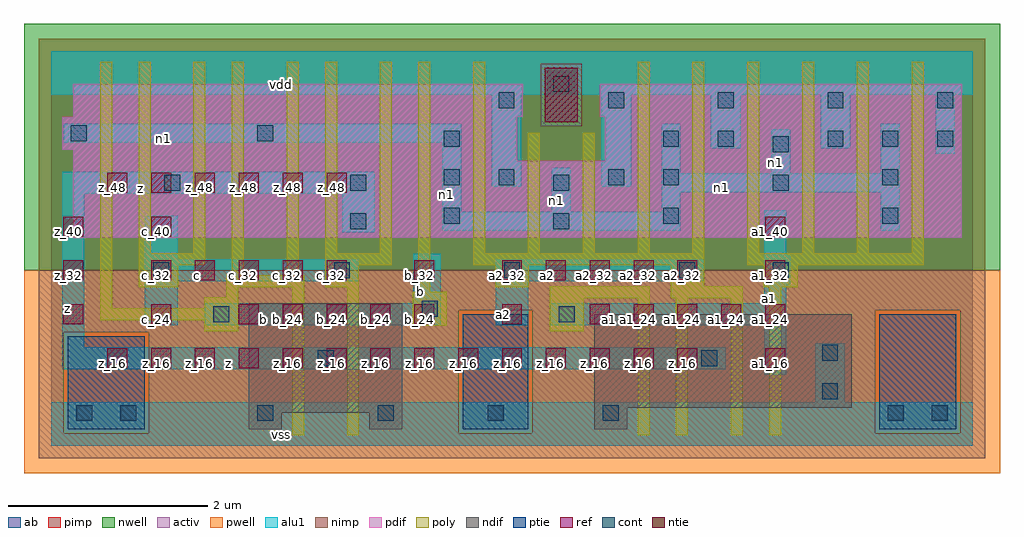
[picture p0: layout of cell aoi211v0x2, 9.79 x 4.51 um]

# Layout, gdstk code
import gdstk
lib = gdstk.Library(unit=1e-6, precision=2.5e-09)
def R(c, l, rs):  # rectangles x0, y0, x1, y1
    for r in rs: c.add(gdstk.rectangle(r[:2], r[2:], *l))
def A(c, l, x, y, w, h, nx, ny, dx, dy):  # array of equal rectangles
    R(c, l, [(x+i*dx, y+j*dy, x+i*dx+w, y+j*dy+h) for i in range(nx) for j in range(ny)])
ndif = (3, 0)
pdif = (4, 0)
ntie = (5, 0)
ptie = (6, 0)
ref = (24, 0)
cont = (25, 0)
pwell = (41, 0)
nwell = (42, 0)
activ = (43, 0)
pimp = (44, 0)
nimp = (45, 0)
poly = (46, 0)
alu1 = (49, 0)
ab = (63, 0)

aoi211v0x2 = lib.new_cell('aoi211v0x2')
R(aoi211v0x2, ndif, [(1.98,0.165,2.31,0.33), (3.19,0.165,3.52,0.33), (5.445,0.165,5.775,0.385), (1.98,0.33,3.52,1.43), (5.445,0.385,8.03,1.32)])
R(aoi211v0x2, pdif, [(0.22,2.09,9.13,2.86), (0.22,2.86,4.675,2.97), (5.555,2.86,9.13,3.3), (0.11,2.97,4.675,3.3), (0.22,3.3,4.73,3.63), (5.5,3.3,9.13,3.63)])
R(aoi211v0x2, ntie, [(4.95,3.245,5.28,3.795)])
R(aoi211v0x2, ptie, [(0.165,0.165,0.935,1.1), (4.125,0.165,4.785,1.32), (8.305,0.165,9.075,1.32)])
A(aoi211v0x2, ref, 0.56, 0.78, 0.2, 0.2, 14, 1, 0.44, 0)
A(aoi211v0x2, ref, 0.12, 1.22, 0.2, 0.2, 3, 1, 0.88, 0)
A(aoi211v0x2, ref, 2.32, 1.22, 0.2, 0.2, 4, 1, 0.44, 0)
A(aoi211v0x2, ref, 5.4, 1.22, 0.2, 0.2, 5, 1, 0.44, 0)
A(aoi211v0x2, ref, 1, 1.66, 0.2, 0.2, 5, 1, 0.44, 0)
A(aoi211v0x2, ref, 4.52, 1.66, 0.2, 0.2, 5, 1, 0.44, 0)
A(aoi211v0x2, ref, 0.56, 2.54, 0.2, 0.2, 6, 1, 0.44, 0)
R(aoi211v0x2, ref, [(7.16,0.78,7.36,0.98), (4.52,1.22,4.72,1.42), (0.12,1.66,0.32,1.86), (3.64,1.66,3.84,1.86), (7.16,1.66,7.36,1.86), (0.12,2.1,0.32,2.3), (1,2.1,1.2,2.3), (7.16,2.1,7.36,2.3)])
A(aoi211v0x2, cont, 3.935, 2.23, 0.16, 0.16, 3, 1, 2.2, 0)
A(aoi211v0x2, cont, 7.785, 3, 0.16, 0.16, 3, 1, 0.55, 0)
A(aoi211v0x2, cont, 4.485, 3.385, 0.16, 0.16, 5, 1, 1.1, 0)
R(aoi211v0x2, cont, [(0.25,0.25,0.41,0.41), (0.69,0.25,0.85,0.41), (2.065,0.25,2.225,0.41), (3.275,0.25,3.435,0.41), (4.375,0.25,4.535,0.41), (5.53,0.25,5.69,0.41), (8.39,0.25,8.55,0.41), (8.83,0.25,8.99,0.41), (7.73,0.47,7.89,0.63), (2.67,0.8,2.83,0.96), (6.52,0.8,6.68,0.96), (7.73,0.855,7.89,1.015), (1.625,1.24,1.785,1.4), (5.09,1.24,5.25,1.4), (3.715,1.295,3.875,1.455), (1.02,1.68,1.18,1.84), (2.835,1.68,2.995,1.84), (4.54,1.68,4.7,1.84), (6.3,1.68,6.46,1.84), (7.235,1.68,7.395,1.84), (3,2.175,3.16,2.335), (5.035,2.175,5.195,2.335), (1.13,2.56,1.29,2.72), (3,2.56,3.16,2.72), (5.035,2.56,5.195,2.72), (7.235,2.56,7.395,2.72), (3.935,2.615,4.095,2.775), (4.485,2.615,4.645,2.775), (5.585,2.615,5.745,2.775), (6.135,2.615,6.295,2.775), (8.335,2.615,8.495,2.775), (7.235,2.945,7.395,3.105), (3.935,3,4.095,3.16), (6.135,3,6.295,3.16), (6.685,3,6.845,3.16), (0.195,3.055,0.355,3.215), (2.065,3.055,2.225,3.215), (5.035,3.55,5.195,3.71)])
R(aoi211v0x2, pwell, [(-0.275,-0.275,9.515,1.76)])
R(aoi211v0x2, nwell, [(-0.275,1.76,9.515,4.235)])
R(aoi211v0x2, activ, [(0.165,0.165,0.935,1.1), (1.98,0.165,2.31,0.33), (3.19,0.165,3.52,0.33), (4.125,0.165,4.785,1.32), (5.445,0.165,5.775,0.385), (8.305,0.165,9.075,1.32), (1.98,0.33,3.52,1.43), (5.445,0.385,8.03,1.32), (0.22,2.09,9.13,2.86), (0.22,2.86,4.675,2.97), (5.555,2.86,9.13,3.3), (0.11,2.97,4.675,3.3), (4.95,3.245,5.28,3.795), (0.22,3.3,4.73,3.63), (5.5,3.3,9.13,3.63)])
R(aoi211v0x2, pimp, [(0.125,0.125,0.975,1.14), (4.085,0.125,4.825,1.36), (8.265,0.125,9.115,1.36), (-0.125,1.76,9.365,3.205), (-0.125,3.205,4.91,3.835), (5.32,3.205,9.365,3.835), (-0.125,3.835,9.365,4.085)])
R(aoi211v0x2, nimp, [(-0.125,-0.125,9.365,0.125), (-0.125,0.125,0.125,1.14), (0.975,0.125,4.085,1.14), (4.825,0.125,8.265,1.36), (9.115,0.125,9.365,1.36), (-0.125,1.14,4.085,1.36), (-0.125,1.36,9.365,1.76), (4.91,3.205,5.32,3.835)])
A(aoi211v0x2, poly, 5.88, 1.93, 0.12, 1.925, 6, 1, 0.55, 0)
R(aoi211v0x2, poly, [(2.415,0.105,2.535,1.59), (2.965,0.105,3.085,1.59), (5.88,0.105,6,1.48), (6.265,0.105,6.385,1.48), (6.815,0.105,6.935,1.48), (7.2,0.105,7.32,1.59), (1.535,1.15,1.875,1.26), (5,1.15,5.34,1.48), (3.625,1.205,3.965,1.545), (0.49,1.26,1.875,1.38), (0.49,1.38,0.61,3.855), (1.535,1.38,1.875,1.49), (5,1.48,6,1.6), (6.21,1.48,6.935,1.6), (1.755,1.49,1.875,1.59), (3.68,1.545,3.8,3.855), (0.875,1.59,1.27,1.81), (1.755,1.59,2.535,1.71), (2.745,1.59,3.085,1.81), (4.45,1.59,4.79,1.81), (7.145,1.59,7.485,1.81), (6.21,1.6,6.55,1.81), (1.81,1.71,1.93,3.855), (2.36,1.71,2.48,3.855), (0.875,1.81,1.545,1.93), (2.745,1.81,3.415,1.93), (4.23,1.81,6.55,1.93), (6.98,1.81,8.75,1.93), (0.875,1.93,0.995,3.855), (1.425,1.93,1.545,3.855), (2.745,1.93,2.865,3.855), (3.295,1.93,3.415,3.855), (4.23,1.93,4.35,3.855), (4.78,1.93,4.9,3.14), (5.33,1.93,5.45,3.14)])
R(aoi211v0x2, alu1, [(0,0,9.24,0.44), (7.66,0.44,7.96,1.03), (7.15,0.715,7.37,1.21), (0.11,0.77,6.765,0.99), (0.11,0.99,0.33,2.53), (0.935,1.21,1.265,1.65), (1.54,1.21,3.905,1.43), (4.455,1.21,4.785,1.65), (5.005,1.21,7.37,1.43), (3.63,1.43,3.905,1.925), (7.15,1.43,7.37,1.61), (7.15,1.61,7.41,1.91), (0.935,1.65,3.08,1.87), (4.455,1.65,6.545,1.87), (0.935,1.87,1.265,2.31), (7.15,1.91,7.37,2.365), (2.915,2.145,3.245,2.53), (3.92,2.16,6.31,2.35), (8.32,2.16,8.51,2.545), (3.92,2.35,4.11,3.04), (5.02,2.35,5.21,2.79), (6.12,2.35,6.31,2.545), (0.11,2.53,3.245,2.75), (6.12,2.545,8.51,2.735), (4.415,2.6,4.715,3.52), (5.515,2.6,5.815,3.52), (6.12,2.735,6.31,3.23), (7.22,2.735,7.41,3.175), (8.32,2.735,8.51,3.23), (8.87,2.93,9.06,3.52), (6.615,2.985,6.915,3.52), (7.715,2.985,8.015,3.52), (0.125,3.04,4.11,3.23), (0,3.52,9.24,3.96)])
R(aoi211v0x2, ab, [(0,0,9.24,3.96)])
aoi211v0x2.add(gdstk.Label('vss', (2.31,0.11), layer=49, texttype=0))
aoi211v0x2.add(gdstk.Label('z', (1.7725,0.825), layer=49, texttype=0))
aoi211v0x2.add(gdstk.Label('a1', (5.595,1.265), layer=49, texttype=0))
aoi211v0x2.add(gdstk.Label('a1', (7.205,1.475), layer=49, texttype=0))
aoi211v0x2.add(gdstk.Label('a2', (4.5375,1.32), layer=49, texttype=0))
aoi211v0x2.add(gdstk.Label('a2', (4.9775,1.705), layer=49, texttype=0))
aoi211v0x2.add(gdstk.Label('b', (2.13,1.265), layer=49, texttype=0))
aoi211v0x2.add(gdstk.Label('b', (3.6975,1.5525), layer=49, texttype=0))
aoi211v0x2.add(gdstk.Label('c', (1.47,1.705), layer=49, texttype=0))
aoi211v0x2.add(gdstk.Label('n1', (6.7175,2.5925), layer=49, texttype=0))
aoi211v0x2.add(gdstk.Label('n1', (7.2675,2.845), layer=49, texttype=0))
aoi211v0x2.add(gdstk.Label('n1', (5.0675,2.46), layer=49, texttype=0))
aoi211v0x2.add(gdstk.Label('n1', (3.9675,2.5225), layer=49, texttype=0))
aoi211v0x2.add(gdstk.Label('z', (0.165,1.375), layer=49, texttype=0))
aoi211v0x2.add(gdstk.Label('z', (0.8925,2.585), layer=49, texttype=0))
aoi211v0x2.add(gdstk.Label('n1', (1.12,3.0875), layer=49, texttype=0))
aoi211v0x2.add(gdstk.Label('vdd', (2.31,3.63), layer=49, texttype=0))
aoi211v0x2.add(gdstk.Label('a2_32', (5.01,1.71), layer=24, texttype=0))
aoi211v0x2.add(gdstk.Label('z_16', (5.01,0.83), layer=24, texttype=0))
aoi211v0x2.add(gdstk.Label('a2_32', (4.57,1.71), layer=24, texttype=0))
aoi211v0x2.add(gdstk.Label('a2_24', (4.57,1.27), layer=24, texttype=0))
aoi211v0x2.add(gdstk.Label('z_16', (4.57,0.83), layer=24, texttype=0))
aoi211v0x2.add(gdstk.Label('z_16', (4.13,0.83), layer=24, texttype=0))
aoi211v0x2.add(gdstk.Label('b_32', (3.69,1.71), layer=24, texttype=0))
aoi211v0x2.add(gdstk.Label('b_24', (3.69,1.27), layer=24, texttype=0))
aoi211v0x2.add(gdstk.Label('z_16', (3.69,0.83), layer=24, texttype=0))
aoi211v0x2.add(gdstk.Label('b_24', (3.25,1.27), layer=24, texttype=0))
aoi211v0x2.add(gdstk.Label('z_16', (3.25,0.83), layer=24, texttype=0))
aoi211v0x2.add(gdstk.Label('z_48', (2.81,2.59), layer=24, texttype=0))
aoi211v0x2.add(gdstk.Label('c_32', (2.81,1.71), layer=24, texttype=0))
aoi211v0x2.add(gdstk.Label('b_24', (2.81,1.27), layer=24, texttype=0))
aoi211v0x2.add(gdstk.Label('z_16', (2.81,0.83), layer=24, texttype=0))
aoi211v0x2.add(gdstk.Label('z_48', (2.37,2.59), layer=24, texttype=0))
aoi211v0x2.add(gdstk.Label('c_32', (2.37,1.71), layer=24, texttype=0))
aoi211v0x2.add(gdstk.Label('b_24', (2.37,1.27), layer=24, texttype=0))
aoi211v0x2.add(gdstk.Label('z_16', (2.37,0.83), layer=24, texttype=0))
aoi211v0x2.add(gdstk.Label('z_40', (0.17,2.15), layer=24, texttype=0))
aoi211v0x2.add(gdstk.Label('z_32', (0.17,1.71), layer=24, texttype=0))
aoi211v0x2.add(gdstk.Label('z_24', (0.17,1.27), layer=24, texttype=0))
aoi211v0x2.add(gdstk.Label('z_48', (1.93,2.59), layer=24, texttype=0))
aoi211v0x2.add(gdstk.Label('c_32', (1.93,1.71), layer=24, texttype=0))
aoi211v0x2.add(gdstk.Label('b_24', (1.93,1.27), layer=24, texttype=0))
aoi211v0x2.add(gdstk.Label('z_16', (1.93,0.83), layer=24, texttype=0))
aoi211v0x2.add(gdstk.Label('z_48', (1.49,2.59), layer=24, texttype=0))
aoi211v0x2.add(gdstk.Label('c_32', (1.49,1.71), layer=24, texttype=0))
aoi211v0x2.add(gdstk.Label('z_16', (1.49,0.83), layer=24, texttype=0))
aoi211v0x2.add(gdstk.Label('z_48', (1.05,2.59), layer=24, texttype=0))
aoi211v0x2.add(gdstk.Label('c_40', (1.05,2.15), layer=24, texttype=0))
aoi211v0x2.add(gdstk.Label('c_32', (1.05,1.71), layer=24, texttype=0))
aoi211v0x2.add(gdstk.Label('c_24', (1.05,1.27), layer=24, texttype=0))
aoi211v0x2.add(gdstk.Label('z_16', (1.05,0.83), layer=24, texttype=0))
aoi211v0x2.add(gdstk.Label('a1_40', (7.21,2.15), layer=24, texttype=0))
aoi211v0x2.add(gdstk.Label('a1_32', (7.21,1.71), layer=24, texttype=0))
aoi211v0x2.add(gdstk.Label('a1_24', (7.21,1.27), layer=24, texttype=0))
aoi211v0x2.add(gdstk.Label('a1_16', (7.21,0.83), layer=24, texttype=0))
aoi211v0x2.add(gdstk.Label('a1_24', (6.77,1.27), layer=24, texttype=0))
aoi211v0x2.add(gdstk.Label('z_48', (0.61,2.59), layer=24, texttype=0))
aoi211v0x2.add(gdstk.Label('z_16', (0.61,0.83), layer=24, texttype=0))
aoi211v0x2.add(gdstk.Label('a2_32', (6.33,1.71), layer=24, texttype=0))
aoi211v0x2.add(gdstk.Label('a1_24', (6.33,1.27), layer=24, texttype=0))
aoi211v0x2.add(gdstk.Label('z_16', (6.33,0.83), layer=24, texttype=0))
aoi211v0x2.add(gdstk.Label('a2_32', (5.89,1.71), layer=24, texttype=0))
aoi211v0x2.add(gdstk.Label('a1_24', (5.89,1.27), layer=24, texttype=0))
aoi211v0x2.add(gdstk.Label('z_16', (5.89,0.83), layer=24, texttype=0))
aoi211v0x2.add(gdstk.Label('a2_32', (5.45,1.71), layer=24, texttype=0))
aoi211v0x2.add(gdstk.Label('a1_24', (5.45,1.27), layer=24, texttype=0))
aoi211v0x2.add(gdstk.Label('z_16', (5.45,0.83), layer=24, texttype=0))

lib.write_gds('aoi211v0x2.gds')
